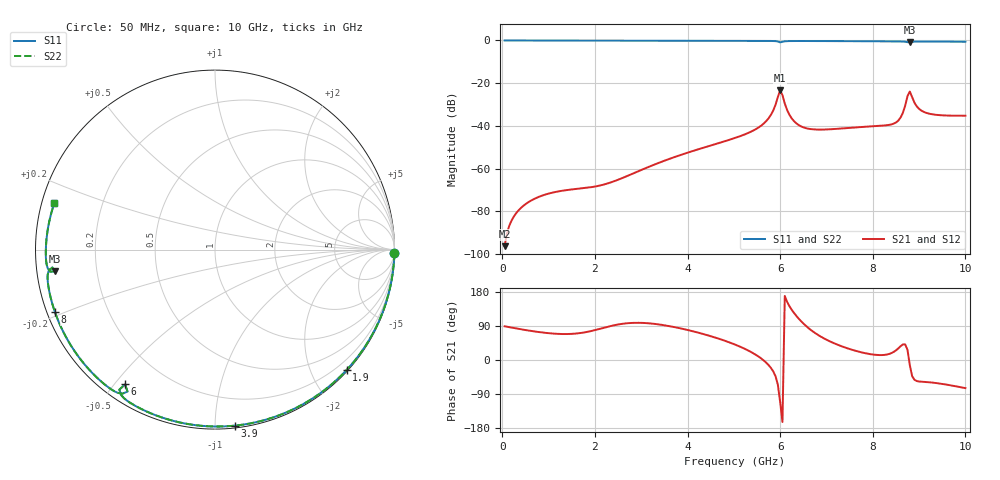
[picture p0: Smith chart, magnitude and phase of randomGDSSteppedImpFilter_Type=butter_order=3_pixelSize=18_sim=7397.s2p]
! freq	dB(S11)	phase(S11)	dB(S12)	phase(S12)
!  dB(S21)	phase(S21)	dB(S22)	phase(S22)
!S-par simulation data
#  GHz  S  DB  R 50
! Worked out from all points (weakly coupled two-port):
!   200 points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, 50 MHz to 10 GHz, reference 50 ohm
!   highest |S21| = -23.34 dB at 6 GHz (marker M1); lowest = -96.3 dB at 50 MHz (marker M2)
!   lowest |S11| = -0.9 dB at 8.8 GHz (marker M3), VSWR 18.75, Z = 2.68 - j3.4 ohm
!   |S11| at or under -10 dB: nowhere
!   |S22| runs from -0.9 to 0.0 dB; largest |S21 - S12| = 0
!   S11 on the Smith chart (normalised r, x): 50 MHz: open; 1.9 GHz: 0.02, -2.58; 3.9 GHz: 0.01, -1.12; 6 GHz: 0.07, -0.53; 8 GHz: 0.02, -0.19; 10 GHz: 0.04, +0.14
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0.05  -0.00 -1.1  -96.31 88.9  -96.31 88.9  -0.00 -1.2
0.3  -0.01 -6.8  -80.85 83.6  -80.85 83.6  -0.01 -6.8
0.95  -0.03 -21.5  -72.00 71.4  -72.00 71.4  -0.03 -21.5
1.75  -0.05 -39.1  -69.18 72.3  -69.18 72.3  -0.05 -39.1
1.9  -0.05 -42.4  -68.76 75.9  -68.76 75.9  -0.05 -42.4
3.4  -0.10 -73.7  -57.12 93.5  -57.12 93.5  -0.10 -73.7
3.9  -0.11 -83.6  -53.25 82.1  -53.25 82.1  -0.11 -83.7
5.05  -0.16 -105.7  -45.47 39.5  -45.47 39.5  -0.16 -105.7
5.7  -0.21 -118.1  -37.72 -7.2  -37.72 -7.2  -0.21 -118.1
5.85  -0.26 -121.5  -32.81 -29.9  -32.81 -29.9  -0.26 -121.5
6  -0.89 -123.7  -23.34 -110.9  -23.34 -110.9  -0.89 -123.7
6.15  -0.32 -124.1  -32.56 153.4  -32.56 153.4  -0.32 -124.1
6.25  -0.27 -126.4  -36.49 132.5  -36.49 132.5  -0.27 -126.4
6.45  -0.26 -130.4  -40.20 102.6  -40.20 102.6  -0.26 -130.4
6.7  -0.27 -135.0  -41.58 75.9  -41.58 75.9  -0.27 -135.1
8  -0.38 -158.6  -40.18 14.4  -40.18 14.4  -0.38 -158.7
8.35  -0.42 -165.2  -39.53 15.8  -39.53 15.8  -0.42 -165.2
8.6  -0.48 -170.2  -36.11 36.2  -36.11 36.2  -0.48 -170.3
8.8  -0.93 -172.2  -23.91 -13.8  -23.91 -13.8  -0.93 -172.2
8.95  -0.52 -175.0  -30.87 -55.5  -30.87 -55.5  -0.52 -175.0
9.1  -0.51 -178.2  -33.43 -57.7  -33.43 -57.7  -0.51 -178.3
10  -0.61 163.7  -35.22 -74.2  -35.22 -74.2  -0.61 163.7
